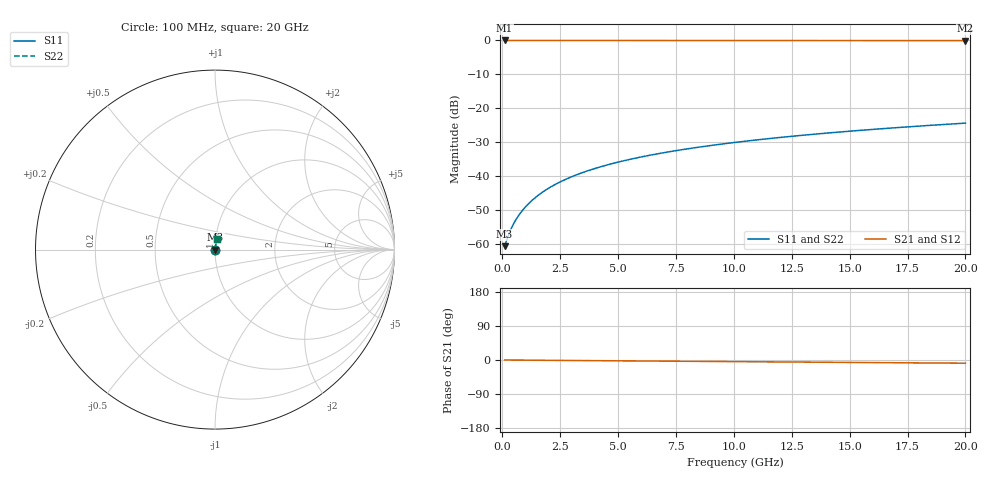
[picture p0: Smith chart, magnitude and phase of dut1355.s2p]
! Touchstone file exported from HFSS 2026.1.0
!  File:  C:/ffzhzh/LocalFiles/Ansys_Project_Files/temp_train_BSMRDL_1355_1783179093_51560.aedt
!  Generated:  11:32:46 PM Jul  4, 2026
!  Design:  BSMRDL
!  Project:  temp_train_BSMRDL_1355_1783179093_51560
! Variables:
!  h_bsmrdl = 3.66um
!  h_ox = 20um
!  h_rdl = 5um
!  h_sub = 80um
!  h_tmrdl = 5um
!  h_tsv = 80um
!  h_via = 3um
!  l_bsmrdl = 119.9um
!  l_sub = 519.9um
!  l_tmrdl = 200um
!  m_sub = 200um
!  pitch = 29.25um
!  r_tsv = 6um
!  s_tmrdl = 10um
!  w_bsmrdl = 18.18um
!  w_sub = 500um
!  w_tmrdl = 12um
!  x_tsv_center1 = 206um
!  x_tsv_center2 = 344.08um
!  x_tsv_center3 = 556.08um
!  x_tsv_center4 = 694.16um
!  x_tsv_center5 = 906.16um
!  x_tsv_center6 = 1044.24um
# GHz S MA R 50.000000
! Terminal data exported
! Port[1] = BSM_RDL1_1_T1
! Port[2] = BSM_RDL1_1_T2
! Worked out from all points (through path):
!   200 points, 100 MHz to 20 GHz, reference 50 ohm
!   highest |S21| = -0.01 dB at 100 MHz (marker M1); lowest = 0.0 dB at 20 GHz (marker M2)
!   group delay of S21, straight-line fit = 1.17 ps
!   lowest |S11| = -60.6 dB at 100 MHz (marker M3), VSWR 1.00, Z = 50.1 + j0.0391 ohm
!   |S11| at or under -10 dB: start of sweep to end of sweep
!   |S22| runs from -60.6 to -24.4 dB; largest |S21 - S12| = 4e-15
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0.1  0.0009299 24.8  0.9992 -0.0  0.9992 -0.0  0.0009299 24.8
! Gamma 0 0 0 0
! Port Impedance 50 0 50 0
0.3  0.001447 49.9  0.9991 -0.1  0.9991 -0.1  0.001447 49.9
0.4  0.001736 55.8  0.999 -0.2  0.999 -0.2  0.001736 55.8
0.5  0.002026 60.1  0.999 -0.2  0.999 -0.2  0.002026 60.1
0.6  0.002319 63.4  0.999 -0.3  0.999 -0.3  0.002319 63.4
0.8  0.002913 68.2  0.9989 -0.4  0.9989 -0.4  0.002913 68.2
1  0.003519 71.5  0.9989 -0.4  0.9989 -0.4  0.003519 71.5
1.2  0.004135 73.8  0.9989 -0.5  0.9989 -0.5  0.004135 73.8
1.4  0.004757 75.6  0.9989 -0.6  0.9989 -0.6  0.004757 75.6
1.7  0.005699 77.5  0.9988 -0.7  0.9988 -0.7  0.005699 77.5
2.2  0.007281 79.4  0.9988 -1.0  0.9988 -1.0  0.007281 79.4
2.8  0.009184 80.7  0.9987 -1.2  0.9987 -1.2  0.009184 80.7
3.5  0.0114 81.4  0.9985 -1.5  0.9985 -1.5  0.0114 81.4
4.2  0.0136 81.8  0.9984 -1.8  0.9984 -1.8  0.0136 81.8
5  0.0161 82.0  0.9982 -2.2  0.9982 -2.2  0.0161 82.0
5.9  0.01889 82.0  0.998 -2.6  0.998 -2.6  0.01889 82.0
6.8  0.02165 81.8  0.9978 -2.9  0.9978 -2.9  0.02165 81.8
8.3  0.0262 81.5  0.9974 -3.6  0.9974 -3.6  0.0262 81.5
10.1  0.03158 81.0  0.997 -4.3  0.997 -4.3  0.03158 81.0
13.4  0.04132 80.1  0.9961 -5.7  0.9961 -5.7  0.04132 80.1
16.7  0.05094 79.0  0.9953 -7.1  0.9953 -7.1  0.05094 79.0
20  0.06046 77.9  0.9944 -8.5  0.9944 -8.5  0.06046 77.9
